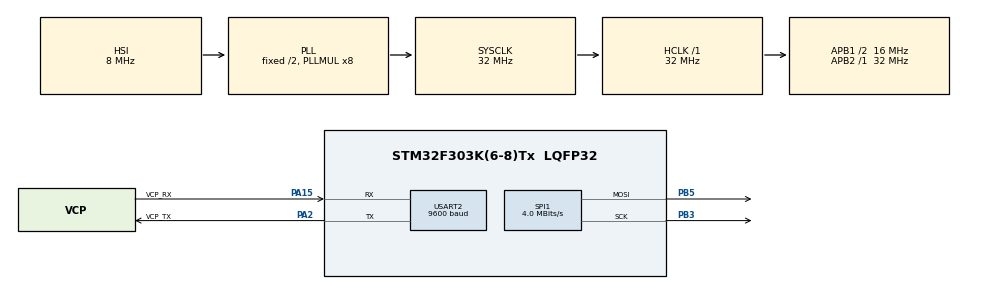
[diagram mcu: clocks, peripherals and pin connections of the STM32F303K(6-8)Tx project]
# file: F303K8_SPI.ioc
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Mcu.Family=STM32F3
Mcu.Name=STM32F303K(6-8)Tx
Mcu.Package=LQFP32
NVIC.PriorityGroup=NVIC_PRIORITYGROUP_4
PA13.GPIO_Label=SWDIO
PA13.Mode=Serial_Wire
PA13.Signal=SYS_JTMS-SWDIO
PA14.GPIO_Label=SWCLK
PA14.Mode=Serial_Wire
PA14.Signal=SYS_JTCK-SWCLK
PA15.GPIO_Label=VCP_RX
PA15.Mode=Asynchronous
PA15.Signal=USART2_RX
PA2.GPIO_Label=VCP_TX
PA2.Mode=Asynchronous
PA2.Signal=USART2_TX
PB3.Mode=TX_Only_Simplex_Unidirect_Master
PB3.Signal=SPI1_SCK
PB5.GPIO_PuPd=GPIO_PULLDOWN
PB5.Mode=TX_Only_Simplex_Unidirect_Master
PB5.Signal=SPI1_MOSI
PF0\ /\ OSC_IN.GPIO_Label=MCO
PF0\ /\ OSC_IN.Mode=HSE-External-Clock-Source
PF0\ /\ OSC_IN.Signal=RCC_OSC_IN
ProjectManager.HeapSize=0x200
ProjectManager.StackSize=0x400
ProjectManager.TargetToolchain=STM32CubeIDE
RCC.AHBFreq_Value=32000000
RCC.APB1CLKDivider=RCC_HCLK_DIV2
RCC.APB1Freq_Value=16000000
RCC.APB1TimFreq_Value=32000000
RCC.APB2Freq_Value=32000000
RCC.APB2TimFreq_Value=32000000
RCC.CortexFreq_Value=32000000
RCC.HCLKFreq_Value=32000000
RCC.HSE_VALUE=8000000
RCC.HSI_VALUE=8000000
RCC.PLLMUL=RCC_PLL_MUL8
RCC.SYSCLKFreq_VALUE=32000000
RCC.SYSCLKSourceVirtual=RCC_SYSCLKSOURCE_PLLCLK
SPI1.BaudRatePrescaler=SPI_BAUDRATEPRESCALER_8
SPI1.CLKPhase=SPI_PHASE_2EDGE
SPI1.CLKPolarity=SPI_POLARITY_HIGH
SPI1.CalculateBaudRate=4.0 MBits/s
SPI1.DataSize=SPI_DATASIZE_4BIT
SPI1.Direction=SPI_DIRECTION_2LINES
SPI1.FirstBit=SPI_FIRSTBIT_MSB
SPI1.Mode=SPI_MODE_MASTER
SPI1.VirtualType=VM_MASTER
USART2.BaudRate=9600
USART2.VirtualMode-Asynchronous=VM_ASYNC
board=NUCLEO-F303K8

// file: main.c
/* USER CODE BEGIN Header */
/**
  ******************************************************************************
  * @file           : main.c
  * @brief          : Main program body
  ******************************************************************************
  * @attention
  *
  * Copyright (c) 2023 STMicroelectronics.
  * All rights reserved.
  *
  * This software is licensed under terms that can be found in the LICENSE file
  * in the root directory of this software component.
  * If no LICENSE file comes with this software, it is provided AS-IS.
  *
  ******************************************************************************
  */
/* USER CODE END Header */
#include "main.h"

SPI_HandleTypeDef hspi1;

UART_HandleTypeDef huart2;

void SystemClock_Config(void);
static void MX_GPIO_Init(void);
static void MX_USART2_UART_Init(void);
static void MX_SPI1_Init(void);

int main(void)
{

  /* MCU Configuration--------------------------------------------------------*/

  /* Reset of all peripherals, Initializes the Flash interface and the Systick. */
  HAL_Init();

  /* Configure the system clock */
  SystemClock_Config();

  /* Initialize all configured peripherals */
  MX_GPIO_Init();
  MX_USART2_UART_Init();
  MX_SPI1_Init();
  /* USER CODE BEGIN 2 */
#define DATA_H 0b01110
#define DATA_L 0b01000
#define num_LEDs 4

	  uint8_t data[24 * num_LEDs];

	  uint32_t data_GRB[num_LEDs] = {
			  0x000020,
			  0x002000,
			  0x200000,
			  0x000000
	  };
  /* USER CODE END 2 */

  /* Infinite loop */
  while (1)
  {

    /* USER CODE BEGIN 3 */
	  for (int c=0; c<num_LEDs; c++){
		  for (int i=0; i<24; i++) {
			  if( data_GRB[c] & (1<<i) ) {
				  data[c * 24 + 23 - i]=DATA_H;
			  } else {
				  data[c * 24 + 23 - i]=DATA_L;
			  }
		  }
	  }
	  HAL_SPI_Transmit(&hspi1, &data, 24*num_LEDs, HAL_MAX_DELAY);

	  uint32_t d=data_GRB[0];
	  for (int c=0; c<(num_LEDs - 1); c++ ){
		  data_GRB[c]=data_GRB[c+1];
	  }
	  data_GRB[num_LEDs-1]=d;
	  HAL_Delay(1000);
  }
  /* USER CODE END 3 */
}

void SystemClock_Config(void)
{
  RCC_OscInitTypeDef RCC_OscInitStruct = {0};
  RCC_ClkInitTypeDef RCC_ClkInitStruct = {0};

  /** Initializes the RCC Oscillators according to the specified parameters
  * in the RCC_OscInitTypeDef structure.
  */
  RCC_OscInitStruct.OscillatorType = RCC_OSCILLATORTYPE_HSI;
  RCC_OscInitStruct.HSIState = RCC_HSI_ON;
  RCC_OscInitStruct.HSICalibrationValue = RCC_HSICALIBRATION_DEFAULT;
  RCC_OscInitStruct.PLL.PLLState = RCC_PLL_ON;
  RCC_OscInitStruct.PLL.PLLSource = RCC_PLLSOURCE_HSI;
  RCC_OscInitStruct.PLL.PLLMUL = RCC_PLL_MUL8;
  if (HAL_RCC_OscConfig(&RCC_OscInitStruct) != HAL_OK)
  {
    Error_Handler();
  }

  /** Initializes the CPU, AHB and APB buses clocks
  */
  RCC_ClkInitStruct.ClockType = RCC_CLOCKTYPE_HCLK|RCC_CLOCKTYPE_SYSCLK
                              |RCC_CLOCKTYPE_PCLK1|RCC_CLOCKTYPE_PCLK2;
  RCC_ClkInitStruct.SYSCLKSource = RCC_SYSCLKSOURCE_PLLCLK;
  RCC_ClkInitStruct.AHBCLKDivider = RCC_SYSCLK_DIV1;
  RCC_ClkInitStruct.APB1CLKDivider = RCC_HCLK_DIV2;
  RCC_ClkInitStruct.APB2CLKDivider = RCC_HCLK_DIV1;

  if (HAL_RCC_ClockConfig(&RCC_ClkInitStruct, FLASH_LATENCY_1) != HAL_OK)
  {
    Error_Handler();
  }
}

static void MX_SPI1_Init(void)
{

  /* SPI1 parameter configuration*/
  hspi1.Instance = SPI1;
  hspi1.Init.Mode = SPI_MODE_MASTER;
  hspi1.Init.Direction = SPI_DIRECTION_2LINES;
  hspi1.Init.DataSize = SPI_DATASIZE_4BIT;
  hspi1.Init.CLKPolarity = SPI_POLARITY_HIGH;
  hspi1.Init.CLKPhase = SPI_PHASE_2EDGE;
  hspi1.Init.NSS = SPI_NSS_SOFT;
  hspi1.Init.BaudRatePrescaler = SPI_BAUDRATEPRESCALER_8;
  hspi1.Init.FirstBit = SPI_FIRSTBIT_MSB;
  hspi1.Init.TIMode = SPI_TIMODE_DISABLE;
  hspi1.Init.CRCCalculation = SPI_CRCCALCULATION_DISABLE;
  hspi1.Init.CRCPolynomial = 7;
  hspi1.Init.CRCLength = SPI_CRC_LENGTH_DATASIZE;
  hspi1.Init.NSSPMode = SPI_NSS_PULSE_DISABLE;
  if (HAL_SPI_Init(&hspi1) != HAL_OK)
  {
    Error_Handler();
  }

}

static void MX_USART2_UART_Init(void)
{

  huart2.Instance = USART2;
  huart2.Init.BaudRate = 9600;
  huart2.Init.WordLength = UART_WORDLENGTH_8B;
  huart2.Init.StopBits = UART_STOPBITS_1;
  huart2.Init.Parity = UART_PARITY_NONE;
  huart2.Init.Mode = UART_MODE_TX_RX;
  huart2.Init.HwFlowCtl = UART_HWCONTROL_NONE;
  huart2.Init.OverSampling = UART_OVERSAMPLING_16;
  huart2.Init.OneBitSampling = UART_ONE_BIT_SAMPLE_DISABLE;
  huart2.AdvancedInit.AdvFeatureInit = UART_ADVFEATURE_NO_INIT;
  if (HAL_UART_Init(&huart2) != HAL_OK)
  {
    Error_Handler();
  }

}

static void MX_GPIO_Init(void)
{

  /* GPIO Ports Clock Enable */
  __HAL_RCC_GPIOF_CLK_ENABLE();
  __HAL_RCC_GPIOA_CLK_ENABLE();
  __HAL_RCC_GPIOB_CLK_ENABLE();

}

void Error_Handler(void)
{
  __disable_irq();
  while (1)
  {
  }
}
